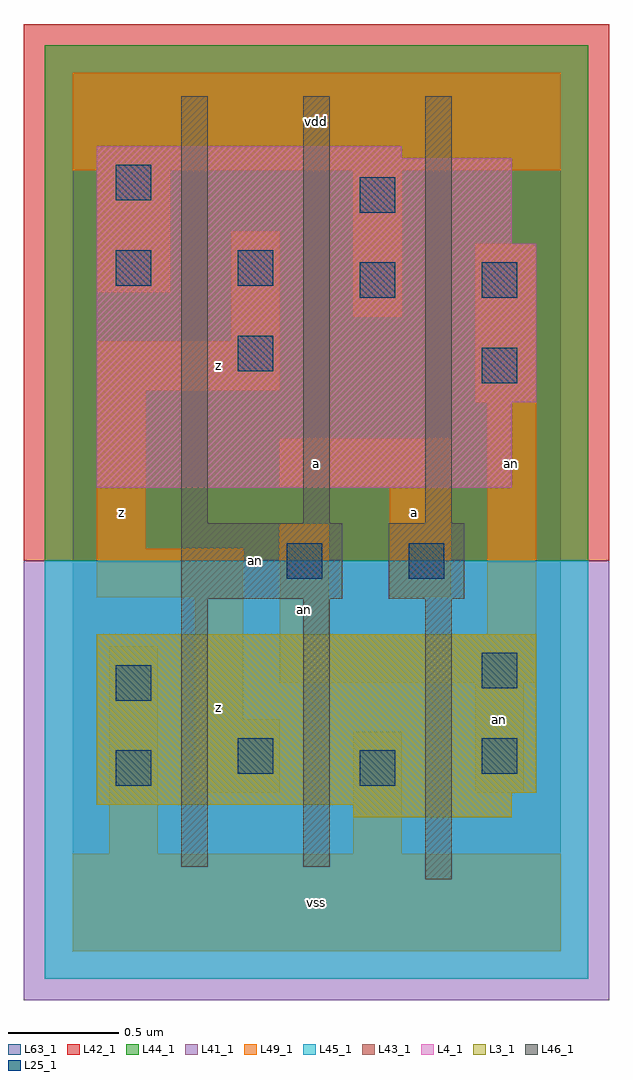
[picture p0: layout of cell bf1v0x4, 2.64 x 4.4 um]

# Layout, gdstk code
import gdstk
lib = gdstk.Library(unit=1e-6, precision=1e-09)
def R(c, l, rs):  # rectangles x0, y0, x1, y1
    for r in rs: c.add(gdstk.rectangle(r[:2], r[2:], *l))
def A(c, l, x, y, w, h, nx, ny, dx, dy):  # array of equal rectangles
    R(c, l, [(x+i*dx, y+j*dy, x+i*dx+w, y+j*dy+h) for i in range(nx) for j in range(ny)])
L3_1 = (3, 1)
L4_1 = (4, 1)
L25_1 = (25, 1)
L41_1 = (41, 1)
L42_1 = (42, 1)
L43_1 = (43, 1)
L44_1 = (44, 1)
L45_1 = (45, 1)
L46_1 = (46, 1)
L49_1 = (49, 1)
L63_1 = (63, 1)

bf1v0x4 = lib.new_cell('bf1v0x4')
R(bf1v0x4, L3_1, [(1.265,0.605,1.98,0.66), (0.11,0.66,1.98,0.715), (0.11,0.715,2.09,1.43)])
R(bf1v0x4, L4_1, [(0.11,2.09,1.98,2.475), (0.11,2.475,2.09,3.19), (0.11,3.19,1.98,3.575), (0.11,3.575,1.485,3.63)])
R(bf1v0x4, L25_1, [(0.195,0.745,0.355,0.905), (1.295,0.745,1.455,0.905), (0.745,0.8,0.905,0.96), (1.845,0.8,2.005,0.96), (0.195,1.13,0.355,1.29), (1.845,1.185,2.005,1.345), (0.965,1.68,1.125,1.84), (1.515,1.68,1.675,1.84), (1.845,2.56,2.005,2.72), (0.745,2.615,0.905,2.775), (1.295,2.945,1.455,3.105), (1.845,2.945,2.005,3.105), (0.195,3,0.355,3.16), (0.745,3,0.905,3.16), (1.295,3.33,1.455,3.49), (0.195,3.385,0.355,3.545)])
R(bf1v0x4, L41_1, [(-0.22,-0.22,2.42,1.76)])
R(bf1v0x4, L42_1, [(-0.22,1.76,2.42,4.18)])
R(bf1v0x4, L43_1, [(1.265,0.605,1.98,0.66), (0.11,0.66,1.98,0.715), (0.11,0.715,2.09,1.43), (0.11,2.09,1.98,2.475), (0.11,2.475,2.09,3.19), (0.11,3.19,1.98,3.575), (0.11,3.575,1.485,3.63)])
R(bf1v0x4, L44_1, [(-0.125,1.76,2.325,4.085)])
R(bf1v0x4, L45_1, [(-0.125,-0.125,2.325,1.76)])
A(bf1v0x4, L46_1, 0.49, 1.93, 0.12, 1.925, 3, 1, 0.55, 0)
R(bf1v0x4, L46_1, [(1.59,0.325,1.71,1.59), (0.49,0.38,0.61,1.59), (1.04,0.38,1.16,1.59), (0.49,1.59,1.215,1.93), (1.425,1.59,1.765,1.93)])
R(bf1v0x4, L49_1, [(0,0,2.2,0.44), (0.165,0.44,0.385,1.375), (1.265,0.44,1.485,0.99), (0.55,0.715,0.935,1.045), (1.815,0.715,2.035,1.21), (0.55,1.045,0.77,1.595), (0.935,1.21,2.09,1.43), (0.935,1.43,1.155,1.925), (1.87,1.43,2.09,2.475), (0.11,1.595,0.77,1.815), (1.43,1.595,1.705,2.09), (0.11,1.815,0.33,2.53), (0.935,2.09,1.705,2.31), (1.815,2.475,2.09,3.19), (0.11,2.53,0.935,2.75), (0.715,2.75,0.935,3.245), (1.265,2.86,1.485,3.52), (0.11,2.97,0.44,3.52), (0,3.52,2.2,3.96)])
R(bf1v0x4, L63_1, [(0,0,2.2,3.96)])
bf1v0x4.add(gdstk.Label('an', (0.825,1.76), layer=46, texttype=1))
bf1v0x4.add(gdstk.Label('z', (0.22,1.98), layer=49, texttype=1))
bf1v0x4.add(gdstk.Label('z', (0.66,1.1), layer=49, texttype=1))
bf1v0x4.add(gdstk.Label('z', (0.66,2.64), layer=49, texttype=1))
bf1v0x4.add(gdstk.Label('vss', (1.1,0.22), layer=49, texttype=1))
bf1v0x4.add(gdstk.Label('an', (1.045,1.54), layer=49, texttype=1))
bf1v0x4.add(gdstk.Label('a', (1.54,1.98), layer=49, texttype=1))
bf1v0x4.add(gdstk.Label('a', (1.1,2.2), layer=49, texttype=1))
bf1v0x4.add(gdstk.Label('vdd', (1.1,3.74), layer=49, texttype=1))
bf1v0x4.add(gdstk.Label('an', (1.925,1.045), layer=49, texttype=1))
bf1v0x4.add(gdstk.Label('an', (1.98,2.2), layer=49, texttype=1))

lib.write_gds('bf1v0x4.gds')
